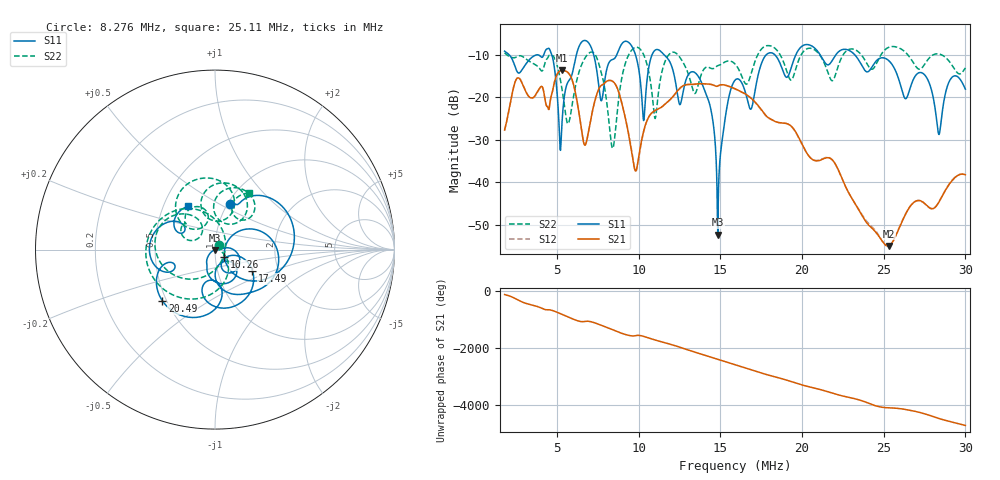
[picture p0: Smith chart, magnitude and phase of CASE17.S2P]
!Agilent Technologies,E5061B,MY49101568,A.02.00
!Date: Wed Mar 01 15:50:35 2023
!Data & Calibration Information:
!Freq	S11:SOLT2(OFF)	S21:SOLT2(OFF)	S12:SOLT2(OFF)	S22:SOLT2(OFF)
# Hz S dB R 50
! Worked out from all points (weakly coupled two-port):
!   1155 points, 1.8 MHz to 30 MHz, reference 50 ohm
!   highest |S21| = -13.72 dB at 5.319 MHz (marker M1); lowest = -55.0 dB at 25.31 MHz (marker M2)
!   lowest |S11| = -52.3 dB at 14.85 MHz (marker M3), VSWR 1.00, Z = 50.2 - j0.182 ohm
!   |S11| at or under -10 dB: 2.069 MHz to 4.198 MHz (2.128 MHz wide, 67.9 % of centre); 11.55 MHz to 17.82 MHz (6.269 MHz wide, 42.7 % of centre); 23.22 MHz to end of sweep (the widest 3 of 8)
!   |S22| runs from -32.0 to -7.9 dB; largest |S21 - S12| = 0.0026
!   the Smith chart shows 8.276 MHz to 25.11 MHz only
!   S11 on the Smith chart (normalised r, x): 8.276 MHz: 1.03, +0.56; 10.26 MHz: 1.11, -0.09; 17.49 MHz: 1.47, -0.37; 20.49 MHz: 0.47, -0.32; 25.11 MHz: 0.66, +0.35
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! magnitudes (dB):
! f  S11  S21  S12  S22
! 1.8 MHz  -9.2  -27.7  -27.8  -9.6
! 2.606 MHz  -14.2  -15.5  -15.4  -10.4
! 4.537 MHz  -8.6  -22.4  -22.4  -10.1
! 5.319 MHz  -25.6  -13.7  -13.7  -18.2
! 5.71 MHz  -16.2  -14.3  -14.4  -26.1
! 6.516 MHz  -7.0  -28.0  -27.9  -12.3
! 7.445 MHz  -13.8  -19.3  -19.3  -10.8
! 8.276 MHz  -11.4  -16.1  -16.0  -29.1
! 9.766 MHz  -9.5  -37.0  -36.7  -8.3
! 10.26 MHz  -23.5  -28.8  -29.1  -9.6
! 11.21 MHz  -8.8  -22.8  -22.7  -19.1
! 13.85 MHz  -16.5  -16.8  -16.9  -14.5
! 14.85 MHz  -52.3  -17.3  -17.4  -12.6
! 15.9 MHz  -16.0  -18.0  -18.1  -12.2
! 16.88 MHz  -22.8  -20.2  -20.3  -14.6
! 17.49 MHz  -12.4  -22.8  -22.9  -8.8
! 20.49 MHz  -7.8  -34.2  -34.1  -8.5
! 20.62 MHz  -8.0  -34.6  -34.5  -8.6
! 25.11 MHz  -10.9  -54.8  -54.8  -8.7
! 25.31 MHz  -11.4  -55.0  -55.0  -8.3
! 28.39 MHz  -28.8  -44.6  -44.6  -9.8
! 30 MHz  -18.1  -38.2  -38.2  -13.1
